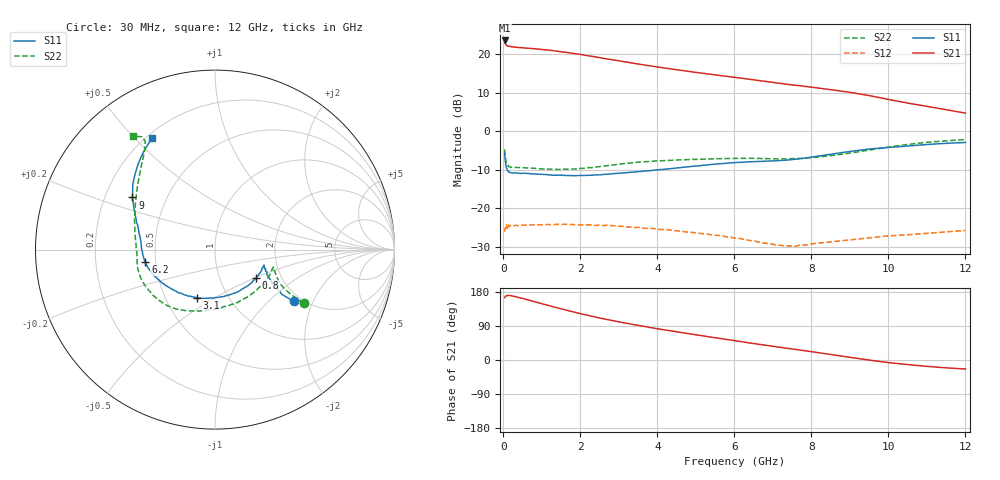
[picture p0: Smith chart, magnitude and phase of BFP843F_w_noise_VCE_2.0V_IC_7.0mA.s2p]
! Infineon Technologies  Discrete & RF Semiconductors
! BFP843F
! VCE =  2.0 V,  IC =  7.0 mA
! Common Emitter S-Parameters:  Aug 2013
# GHz  S  MA  R  50
!  f  S11  S21  S12  S22
! GHz  MAG  ANG  MAG  ANG  MAG  ANG  MAG  ANG
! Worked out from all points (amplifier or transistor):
!   103 points, 30 MHz to 12 GHz, reference 50 ohm
!   highest |S21| = 23.6 dB at 30 MHz (marker M1)
!   |S21| within 3 dB of that: start of sweep to 1.549 GHz
!   unconditionally stable (mu >= 1): 181 MHz to 757.7 MHz; 2.985 GHz to end of sweep
!   at 400 MHz: K = 1.01, MAG = 22.6 dB, |S12| = -24.6 dB
!   at 3.7 GHz: K = 1.07, MAG = 19.6 dB, |S12| = -25.3 dB
!   at 12 GHz: K = 1.38, MAG = 11.6 dB, |S12| = -25.8 dB
!   lowest NFmin = 0.80 dB at 450 MHz
!   S11 on the Smith chart (normalised r, x): 30 MHz: 1.82, -1.44; 800 MHz: 1.49, -0.51; 3.1 GHz: 0.71, -0.42; 6.2 GHz: 0.44, -0.07; 9 GHz: 0.32, +0.26; 12 GHz: 0.22, +0.56
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0.03  0.524 -33.3  15.09 164.6  0.0495 31.9  0.5775 -31.1
0.04  0.448 -33.8  14.25 165.4  0.0533 24.2  0.4979 -30.7
0.05  0.409 -31.8  13.68 167.9  0.0558 20.1  0.451 -29.6
0.06  0.3701 -30.4  13.4 168.8  0.0551 18.4  0.4184 -28.2
0.1  0.313 -22.8  12.84 170.0  0.058 11.2  0.3617 -21.5
0.15  0.2944 -20.2  12.71 170.3  0.0577 7.0  0.3447 -17.9
0.8  0.278 -34.7  11.78 154.1  0.0608 -0.1  0.3294 -35.5
1.2  0.2705 -50.1  11.26 143.0  0.061 -2.0  0.3205 -52.3
1.4  0.2674 -57.8  10.94 137.6  0.0616 -3.3  0.3176 -60.7
1.7  0.2648 -69.0  10.45 129.7  0.0614 -4.7  0.319 -73.0
2.1  0.2651 -82.9  9.737 119.9  0.0605 -6.8  0.3291 -88.4
2.5  0.2698 -95.4  9.027 110.8  0.0602 -9.4  0.3463 -101.1
3.1  0.2865 -110.7  8.04 98.7  0.058 -12.1  0.377 -115.5
4.1  0.317 -132.6  6.719 80.9  0.0527 -15.4  0.4125 -132.3
5.1  0.3556 -151.7  5.716 64.9  0.047 -16.8  0.4302 -146.6
6.1  0.3933 -168.0  4.933 49.6  0.0406 -16.8  0.4427 -160.7
6.2  0.3936 -170.0  4.865 48.0  0.0397 -16.4  0.4432 -162.2
7.2  0.4154 174.1  4.18 33.4  0.0328 -5.8  0.4354 -176.5
8.5  0.5008 153.9  3.463 14.6  0.0364 11.8  0.4796 159.2
9  0.5441 147.7  3.195 7.1  0.0386 14.1  0.5185 148.6
10.5  0.6413 131.9  2.317 -12.1  0.045 18.6  0.6713 125.9
12  0.712 119.4  1.714 -23.8  0.0512 23.4  0.779 125.7
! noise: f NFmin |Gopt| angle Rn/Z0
0.45  0.8  0.09  13  0.04
0.9  0.8  0.09  25  0.05
1.5  0.85  0.09  37  0.05
1.9  0.91  0.09  52  0.06
2.4  0.95  0.1  68  0.06
3.5  1.01  0.12  99  0.12
5.5  1.12  0.16  167  0.16
10  1.75  0.37  -120  0.25
